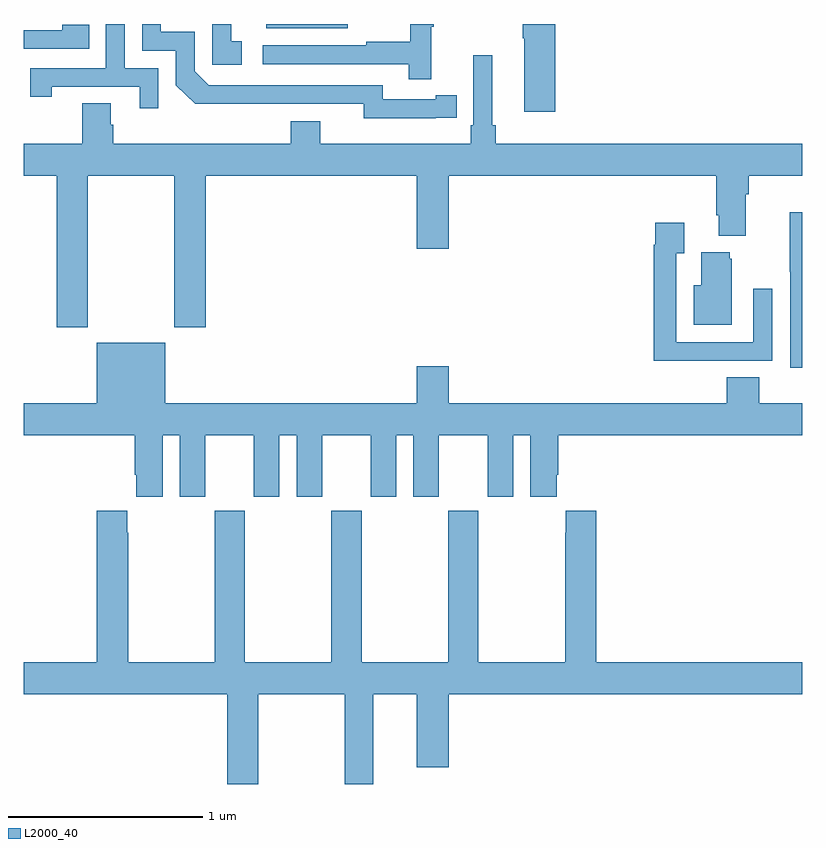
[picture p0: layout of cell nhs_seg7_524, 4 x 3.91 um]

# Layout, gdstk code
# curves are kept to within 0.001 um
import gdstk
lib = gdstk.Library(unit=1e-6, precision=1e-09)
def R(c, l, rs):  # rectangles x0, y0, x1, y1
    for r in rs: c.add(gdstk.rectangle(r[:2], r[2:], *l))
def P(c, l, *ps):  # polygons
    for p in ps: c.add(gdstk.Polygon(p, *l))
L2000_40 = (2000, 40)

nhs_seg7_524 = lib.new_cell('nhs_seg7_524')
R(nhs_seg7_524, L2000_40, [(152.246,1063.979,152.665,1064)])
P(nhs_seg7_524, L2000_40, [(153.116,1063.518),(153.224,1063.518),(153.224,1063.634),(153.116,1063.634),(153.116,1063.614),(152.844,1063.614),(152.844,1063.686),(151.95,1063.686),(151.878,1063.758),(151.878,1063.959),(151.705,1063.959),(151.705,1064),(151.608,1064),(151.608,1063.863),(151.782,1063.863),(151.782,1063.686),(151.88,1063.589),(152.748,1063.59),(152.748,1063.517)],
  [(152.119,1063.911),(152.066,1063.911),(152.066,1064),(151.968,1064),(151.968,1063.791),(152.119,1063.791)],
  [(153.731,1064),(153.565,1064),(153.565,1063.927),(153.572,1063.927),(153.572,1063.548),(153.731,1063.548)],
  [(153.095,1063.987),(153.106,1063.987),(153.106,1064),(152.985,1064),(152.985,1063.91),(152.761,1063.91),(152.761,1063.89),(152.229,1063.89),(152.229,1063.794),(152.977,1063.794),(152.977,1063.716),(153.095,1063.716)],
  [(151.692,1063.773),(151.518,1063.773),(151.518,1064),(151.422,1064),(151.422,1063.773),(151.033,1063.773),(151.033,1063.626),(151.144,1063.626),(151.144,1063.677),(151.595,1063.677),(151.595,1063.566),(151.692,1063.566)],
  [(151.337,1063.995),(151.197,1063.995),(151.197,1063.968),(151,1063.968),(151,1063.872),(151.337,1063.872)],
  [(151.329,1063.22),(151.774,1063.22),(151.774,1062.441),(151.934,1062.441),(151.934,1063.22),(153.02,1063.22),(153.02,1062.846),(153.184,1062.846),(153.184,1063.22),(154.559,1063.22),(154.559,1063.018),(154.571,1063.018),(154.571,1062.911),(154.711,1062.911),(154.711,1063.124),(154.724,1063.124),(154.724,1063.22),(155,1063.22),(155,1063.384),(153.425,1063.384),(153.425,1063.48),(153.406,1063.48),(153.406,1063.84),(153.309,1063.84),(153.309,1063.48),(153.296,1063.48),(153.296,1063.384),(152.524,1063.384),(152.524,1063.501),(152.372,1063.501),(152.372,1063.384),(151.46,1063.384),(151.46,1063.482),(151.447,1063.482),(151.447,1063.592),(151.3,1063.592),(151.3,1063.384),(151,1063.384),(151,1063.22),(151.169,1063.22),(151.169,1062.441),(151.329,1062.441)],
  [(155,1063.034),(154.936,1063.034),(154.936,1062.727),(154.938,1062.727),(154.938,1062.234),(155,1062.234)],
  [(154.529,1062.27),(154.845,1062.27),(154.845,1062.64),(154.749,1062.64),(154.749,1062.366),(154.353,1062.366),(154.353,1062.823),(154.393,1062.823),(154.393,1062.979),(154.245,1062.979),(154.245,1062.866),(154.237,1062.866),(154.237,1062.269),(154.529,1062.269)],
  [(154.639,1062.795),(154.628,1062.795),(154.628,1062.826),(154.481,1062.826),(154.481,1062.658),(154.442,1062.658),(154.442,1062.455),(154.639,1062.455)],
  [(151.714,1061.888),(151.802,1061.888),(151.802,1061.571),(151.933,1061.571),(151.933,1061.888),(152.183,1061.888),(152.183,1061.571),(152.314,1061.571),(152.314,1061.888),(152.402,1061.888),(152.402,1061.571),(152.533,1061.571),(152.533,1061.888),(152.783,1061.888),(152.783,1061.571),(152.914,1061.571),(152.914,1061.888),(153.002,1061.888),(153.002,1061.571),(153.133,1061.571),(153.133,1061.888),(153.383,1061.888),(153.383,1061.571),(153.514,1061.571),(153.514,1061.888),(153.602,1061.888),(153.602,1061.571),(153.739,1061.571),(153.739,1061.683),(153.746,1061.683),(153.746,1061.888),(155,1061.888),(155,1062.052),(154.778,1062.052),(154.778,1062.185),(154.613,1062.185),(154.613,1062.052),(153.184,1062.052),(153.184,1062.241),(153.02,1062.241),(153.02,1062.052),(151.726,1062.052),(151.726,1062.361),(151.376,1062.361),(151.376,1062.052),(151,1062.052),(151,1061.888),(151.571,1061.888),(151.571,1061.683),(151.577,1061.683),(151.577,1061.571),(151.714,1061.571)],
  [(152.205,1060.556),(152.65,1060.556),(152.65,1060.095),(152.797,1060.095),(152.797,1060.556),(153.02,1060.556),(153.02,1060.182),(153.184,1060.182),(153.184,1060.556),(155,1060.556),(155,1060.72),(153.941,1060.72),(153.941,1061.5),(153.785,1061.5),(153.785,1061.387),(153.781,1061.387),(153.781,1060.72),(153.336,1060.72),(153.336,1061.5),(153.181,1061.5),(153.181,1060.72),(152.736,1060.72),(152.736,1061.5),(152.581,1061.5),(152.581,1060.72),(152.136,1060.72),(152.136,1061.5),(151.981,1061.5),(151.981,1060.72),(151.536,1060.72),(151.536,1061.387),(151.531,1061.387),(151.531,1061.5),(151.376,1061.5),(151.376,1060.72),(151,1060.72),(151,1060.556),(152.045,1060.556),(152.045,1060.095),(152.205,1060.095)])

lib.write_gds('nhs_seg7_524.gds')
